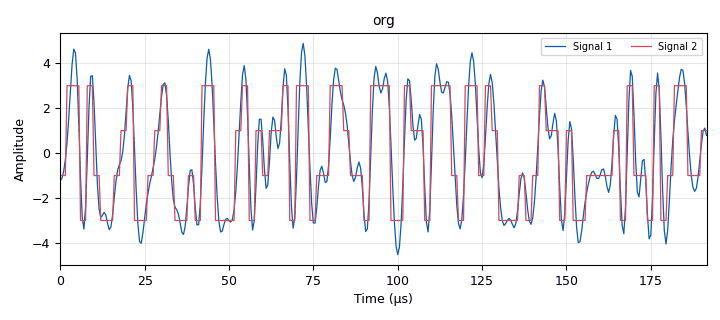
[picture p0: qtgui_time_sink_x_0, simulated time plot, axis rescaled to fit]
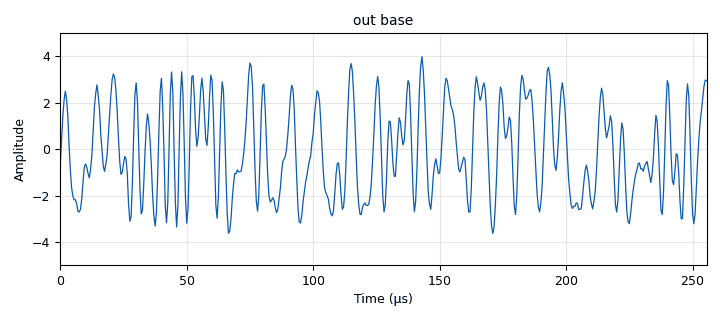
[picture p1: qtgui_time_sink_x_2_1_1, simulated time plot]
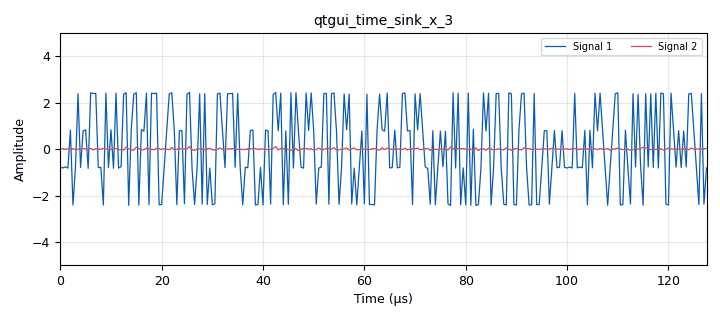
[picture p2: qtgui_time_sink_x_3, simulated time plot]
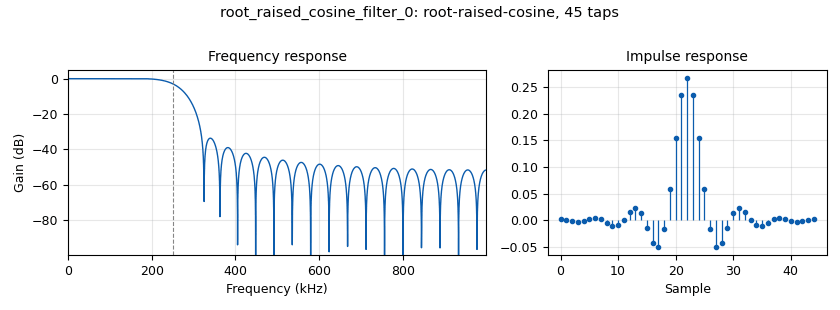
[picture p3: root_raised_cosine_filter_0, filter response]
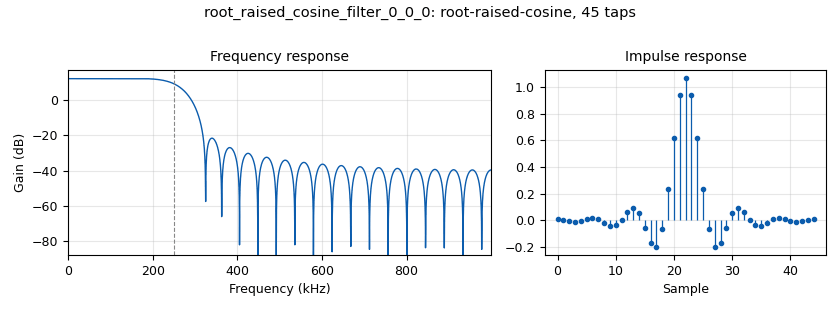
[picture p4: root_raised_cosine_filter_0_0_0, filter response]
options:
  parameters:
    generate_options: qt_gui
    id: rm_test
    output_language: python
    title: rm_test
  states: {}

blocks:
- name: D
  id: variable
  parameters:
    value: symb_rate/4
  states: {}
- name: bw
  id: variable_qtgui_range
  parameters:
    label: bw
    start: '0'
    step: '0.01'
    stop: '1'
    value: '0.01'
  states: {}
- name: gain
  id: variable_qtgui_range
  parameters:
    label: gain
    start: '0'
    step: '0.01'
    stop: '1'
    value: '0.6'
  states: {}
- name: noise_level
  id: variable_qtgui_range
  parameters:
    label: noise_level
    start: '0'
    step: '0.01'
    stop: '4'
    value: '0.1'
  states: {}
- name: pam4
  id: variable_constellation
  parameters:
    const_points: '[-3,-1,1,3]'
    dims: '1'
    normalization: digital.constellation.POWER_NORMALIZATION
    precision: '8'
    rot_sym: '1'
    sym_map: '[0, 1, 2,3]'
    type: calcdist
  states: {}
- name: samp_rate
  id: variable
  parameters:
    value: 2e6
  states: {}
- name: symb_rate
  id: variable
  parameters:
    value: 500e3
  states: {}
- name: analog_noise_source_x_0
  id: analog_noise_source_x
  parameters:
    amp: noise_level
    noise_type: analog.GR_GAUSSIAN
    seed: '0'
    type: complex
  states: {state: disabled}
- name: analog_noise_source_x_0_0
  id: analog_noise_source_x
  parameters:
    amp: noise_level
    noise_type: analog.GR_GAUSSIAN
    seed: '0'
    type: complex
  states: {}
- name: analog_quadrature_demod_cf_0
  id: analog_quadrature_demod_cf
  parameters:
    gain: samp_rate/(2*math.pi*D)
  states: {}
- name: analog_random_source_x_0
  id: analog_random_source_x
  parameters:
    max: '255'
    min: '0'
    num_samps: '1000'
    repeat: 'True'
    type: byte
  states: {}
- name: analog_sig_source_x_1_0
  id: analog_sig_source_x
  parameters:
    amp: '5'
    freq: '433000000'
    offset: '0'
    phase: '0'
    samp_rate: samp_rate
    type: complex
    waveform: analog.GR_SIN_WAVE
  states: {}
- name: analog_simple_squelch_cc_0
  id: analog_simple_squelch_cc
  parameters:
    alpha: '1'
    threshold: '-70'
  states: {}
- name: blocks_add_xx_0_0
  id: blocks_add_xx
  parameters:
    type: complex
  states: {state: disabled}
- name: blocks_add_xx_0_0_0
  id: blocks_add_xx
  parameters:
    type: complex
  states: {}
- name: blocks_char_to_float_0
  id: blocks_char_to_float
  parameters:
    scale: '1'
  states: {}
- name: blocks_delay_1
  id: blocks_delay
  parameters:
    delay: '5'
    type: float
  states: {}
- name: blocks_freqshift_cc_0_0
  id: blocks_freqshift_cc
  parameters:
    freq: '-433000000'
    sample_rate: samp_rate
  states: {}
- name: blocks_multiply_const_vxx_0
  id: blocks_multiply_const_vxx
  parameters:
    const: '0.01'
    type: float
  states: {state: disabled}
- name: blocks_multiply_const_vxx_1
  id: blocks_multiply_const_vxx
  parameters:
    const: '0.8'
    type: float
  states: {}
- name: blocks_multiply_xx_2
  id: blocks_multiply_xx
  parameters:
    type: complex
  states: {}
- name: blocks_repack_bits_bb_1
  id: blocks_repack_bits_bb
  parameters:
    endianness: gr.GR_MSB_FIRST
    k: '8'
    l: '2'
    len_tag_key: '"packet_len"'
  states: {}
- name: blocks_repack_bits_bb_1_0
  id: blocks_repack_bits_bb
  parameters:
    endianness: gr.GR_LSB_FIRST
    k: '2'
    l: '8'
    len_tag_key: '"packet_len"'
  states: {state: disabled}
- name: blocks_repeat_0
  id: blocks_repeat
  parameters:
    interp: '4'
    type: float
  states: {}
- name: blocks_stream_to_tagged_stream_0
  id: blocks_stream_to_tagged_stream
  parameters:
    len_tag_key: '"packet_len"'
    packet_len: '15'
    type: byte
  states: {}
- name: blocks_throttle2_0
  id: blocks_throttle2
  parameters:
    samples_per_second: samp_rate
    type: complex
  states: {}
- name: blocks_uchar_to_float_0
  id: blocks_uchar_to_float
  parameters: {}
  states: {state: disabled}
- name: blocks_uchar_to_float_0_0
  id: blocks_uchar_to_float
  parameters: {}
  states: {state: disabled}
- name: blocks_uchar_to_float_0_1
  id: blocks_uchar_to_float
  parameters: {}
  states: {state: disabled}
- name: blocks_vco_c_0
  id: blocks_vco_c
  parameters:
    amplitude: '1'
    samp_rate: samp_rate
    sensitivity: (2*math.pi)*D
  states: {}
- name: blocks_vector_source_x_0
  id: blocks_vector_source_x
  parameters:
    repeat: 'True'
    type: byte
    vector: (165, 0, 6, 0, 153, 10, 6, 65, 65, 65, 65, 65, 65, 189, 45)
  states: {state: disabled}
- name: digital_map_bb_0
  id: digital_map_bb
  parameters:
    map: '[-3,-1,1,3]'
  states: {}
- name: digital_symbol_sync_xx_0
  id: digital_symbol_sync_xx
  parameters:
    constellation: pam4
    damping: '1'
    loop_bw: bw
    max_dev: '1.5'
    nfilters: '128'
    osps: '1'
    resamp_type: digital.IR_PFB_NO_MF
    sps: '4'
    ted_gain: gain
    ted_type: digital.TED_MUELLER_AND_MULLER
    type: ff
  states: {}
- name: epy_block_0_0
  id: epy_block
  parameters:
    _source_code: |
      import numpy as np
      from gnuradio import gr

      class four_fsk_slicer(gr.sync_block):
          """
          4FSK Hard Slicer
          Input: Float symbols (approx -3, -1, 1, 3)
          Output: Bytes (0, 1, 2, 3 based on mapping)
          """
          def __init__(self):
              gr.sync_block.__init__(self,
                  name="4FSK Slicer",
                  in_sig=[np.float32],
                  out_sig=[np.uint8])

          def work(self, input_items, output_items):
              in0 = input_items[0]
              out = output_items[0]

              # 矢量化操作提高效率
              # 判决门限：-3.5, 0, 3.5

              # 使用 np.select 或者简单的比较

              cond_neg3 = in0 < -3.6
              cond_neg1 = (in0 >= -3.6) & (in0 < 0.0)
              cond_pos1 = (in0 >= 0.0) & (in0 < 3.6)
              cond_pos3 = in0 >= 3.6

              out[:] = (0 * cond_neg3 +
                        1 * cond_neg1 +
                        2 * cond_pos1 +
                        3 * cond_pos3).astype(np.uint8)

              return len(output_items[0])
  states: {state: disabled}
- name: epy_block_1
  id: epy_block
  parameters:
    _source_code: |
      import numpy as np
      from gnuradio import gr
      import pmt
      from scipy import signal
      import struct

      class fsk_burst_demod_rrc(gr.basic_block):
          def __init__(self, sps=4, alpha=0.25, ntaps=44, threshold=12.0, payload_bytes=14):
              gr.basic_block.__init__(self,
                  name="4-FSK RRC Correlation Demod",
                  in_sig=[np.float32],
                  out_sig=[np.uint8])

              self.sps = sps
              self.threshold = threshold
              self.payload_bytes = payload_bytes
              self.preamble_bytes = 1



              # 预计算核

              self.kernel = np.array(
                      [-0.3573050820141748, 0.5660324802079747, 1.2540338399449016, 1.6295843398401122, 1.6540407856806771, 1.3361034273782317, 0.751107591189669, 0.05043177497731362, -0.5937277177999305, -0.9785924463822805, -1.0780863103973495, -0.9735427298716328, -0.8530721779041428, -0.8496851308974418, -1.0996978799392936, -1.6034189664941476, -2.2065817403116985, -2.8258390531562303, -3.2484240942060123, -3.380621099394902, -3.2539607537620547, -3.010055647627655, -2.8195794555849996, -2.7830997744361694, -2.9247430368311886, -3.0553742929915426, -3.1276277405435704, -3.1159436582249245, -3.0502972667543005, -2.965491326761916, -2.8480935627121218, -2.623313845849911, -2.1740644196075953, -1.4963902421714717, -0.6214243499251842, 0.2802205824933558, 0.959380227235302, 1.1783752469166406, 0.8126400837735933, -0.08596178463524357, -1.2822550094286638, -2.522246206339441, -3.490881105705776, -3.978374440835261], dtype=np.float32)

              self.buffer = np.array([], dtype=np.float32)
              self.state = "SEARCH"
              self.samples_per_packet = (self.preamble_bytes + self.payload_bytes) * 4 * sps

          def general_work(self, input_items, output_items):
              in0 = input_items
              out = output_items
              self.buffer = np.append(self.buffer, in0)

              produced = 0
              while True:
                  if self.state == "SEARCH":
                      # 需要足够的长度进行互相关
                      if len(self.buffer) < len(self.kernel) + self.samples_per_packet:
                          break

                      # 滑动相关 (仅搜索缓冲区起始的一段)
                      search_len = min(len(self.buffer), 512)
                      corr = signal.correlate(self.buffer[:search_len], self.kernel, mode='valid')

                      peak_idx = np.argmax(corr)
                      if corr[peak_idx] > self.threshold:
                          #print("valid")
                          # 匹配成功。对于 'valid' 模式，峰值索引 peak_idx
                          # 对应的正是 kernel 完全对齐 buffer[peak_idx : peak_idx+len(kernel)] 的位置
                          # 最佳采样点通常在 preamble 结束后的第一个 payload 符号处
                          self.sample_ptr = peak_idx + len(self.kernel)
                          self.state = "EXTRACT"
                      else:
                          # 未找到，修剪缓冲区防止内存溢出
                          self.buffer = self.buffer[search_len - len(self.kernel):]
                          break

                  elif self.state == "EXTRACT":
                      # 检查剩余样本是否足够覆盖 payload
                      payload_samples_needed = self.payload_bytes * 4 * self.sps
                      if len(self.buffer) < self.sample_ptr + payload_samples_needed:
                          break

                      # 开始每隔 SPS 个样本抽取一个点（抽取在同步后执行）
                      payload_stream = self.buffer[self.sample_ptr : self.sample_ptr + payload_samples_needed]
                      decision_points = payload_stream[::self.sps]

                      # 解码符号并组包
                      packet_bytes = []
                      for i in range(0, len(decision_points), 4):
                          byte_val = 0
                          for j in range(4):
                              v = decision_points[i+j]
                              # 4FSK 判决门限 (假设已经归一化到 -3, -1, 1, 3)
                              if v > 2.0: bits = 0b11 # +3
                              elif v > 0: bits = 0b10 # +1
                              elif v > -2.0: bits = 0b01 # -1
                              else: bits = 0b00 # -3
                              byte_val = (byte_val << 2) | bits
                              #byte_val = int("{:08b}".format(byte_val)[::-1],2)
                          packet_bytes.append(byte_val)

                      # 截断到请求的长度并添加 Tag
                      final_payload = packet_bytes[:self.payload_bytes]

                      # 打标：在当前输出流的起始位置添加 packet_len 标签
                      tag_index = self.nitems_written(0) + produced
                      self.add_item_tag(0, tag_index, pmt.intern("packet_len"), pmt.from_long(self.payload_bytes))

                      # 输出
                      out[produced : produced + len(final_payload)] = final_payload
                      produced += len(final_payload)

                      # 重置状态并清理 buffer
                      self.buffer = self.buffer[self.sample_ptr + payload_samples_needed:]
                      self.state = "SEARCH"

              self.consume(0, len(in0))
              return produced
    alpha: '0.25'
    ntaps: '44'
    payload_bytes: '11'
    sps: '4'
    threshold: '100'
  states: {state: disabled}
- name: epy_block_1_0
  id: epy_block
  parameters:
    _source_code: |
      import numpy as np
      from gnuradio import gr
      from scipy import signal

      class fsk_corr_scorer(gr.sync_block):
          def __init__(self):
              gr.sync_block.__init__(self,
                  name="FSK Correlation Scorer",
                  in_sig=[np.float32],
                  out_sig=[np.float32])

              # 预计算核 (保持原有数值)
              self.kernel = np.array(
                      [-0.3573050820141748, 0.5660324802079747, 1.2540338399449016, 1.6295843398401122, 1.6540407856806771, 1.3361034273782317, 0.751107591189669, 0.05043177497731362, -0.5937277177999305, -0.9785924463822805, -1.0780863103973495, -0.9735427298716328, -0.8530721779041428, -0.8496851308974418, -1.0996978799392936, -1.6034189664941476, -2.2065817403116985, -2.8258390531562303, -3.2484240942060123, -3.380621099394902, -3.2539607537620547, -3.010055647627655, -2.8195794555849996, -2.7830997744361694, -2.9247430368311886, -3.0553742929915426, -3.1276277405435704, -3.1159436582249245, -3.0502972667543005, -2.965491326761916, -2.8480935627121218, -2.623313845849911, -2.1740644196075953, -1.4963902421714717, -0.6214243499251842, 0.2802205824933558, 0.959380227235302, 1.1783752469166406, 0.8126400837735933, -0.08596178463524357, -1.2822550094286638, -2.522246206339441, -3.490881105705776, -3.978374440835261], dtype=np.float32)

              # 设置 history 长度，确保每次 work 都能访问到足够的旧样本进行互相关
              self.set_history(len(self.kernel))

          def work(self, input_items, output_items):
              in0 = input_items[0]
              out = output_items[0]

              # 在 sync_block 中，如果设置了 history 为 K，
              # 则 len(in0) = noutput_items + K - 1
              # 我们对整段 buffer 进行 valid 模式的相关运算，得到长度为 noutput_items 的结果
              # 使用 numpy.correlate 或 scipy.signal.correlate 均可
              # 注意：为了性能，这里使用 numpy 的 correlate

              corr_result = signal.correlate(in0, self.kernel, mode='valid')

              # 填充到输出
              n_out = len(corr_result)
              out[:n_out] = corr_result

              return n_out
  states: {state: disabled}
- name: epy_block_1_0_0
  id: epy_block
  parameters:
    _source_code: |
      import numpy as np
      from gnuradio import gr
      import pmt
      from scipy import signal

      class fsk_burst_tagger(gr.sync_block):
          def __init__(self, threshold=12.0):
              gr.sync_block.__init__(self,
                  name="FSK Burst Tagger",
                  in_sig=[np.float32],
                  out_sig=[np.float32]) # 修改为浮点输出，保持信号流不变

              self.threshold = threshold
              # 预计算核 (保持原有数值)
              self.kernel = np.array(
                      [-0.3573050820141748, 0.5660324802079747, 1.2540338399449016, 1.6295843398401122, 1.6540407856806771, 1.3361034273782317, 0.751107591189669, 0.05043177497731362, -0.5937277177999305, -0.9785924463822805, -1.0780863103973495, -0.9735427298716328, -0.8530721779041428, -0.8496851308974418, -1.0996978799392936, -1.6034189664941476, -2.2065817403116985, -2.8258390531562303, -3.2484240942060123, -3.380621099394902, -3.2539607537620547, -3.010055647627655, -2.8195794555849996, -2.7830997744361694, -2.9247430368311886, -3.0553742929915426, -3.1276277405435704, -3.1159436582249245, -3.0502972667543005, -2.965491326761916, -2.8480935627121218, -2.623313845849911, -2.1740644196075953, -1.4963902421714717, -0.6214243499251842, 0.2802205824933558, 0.959380227235302, 1.1783752469166406, 0.8126400837735933, -0.08596178463524357, -1.2822550094286638, -2.522246206339441, -3.490881105705776, -3.978374440835261], dtype=np.float32)

              self.buffer = np.array([], dtype=np.float32)
              self.skip_count = 0 # 用于防止在同一个峰值附近重复打标

          def work(self, input_items, output_items):
              in0 = input_items[0]
              out = output_items[0]

              # 将新数据存入缓冲区
              self.buffer = np.append(self.buffer, in0)

              # 如果缓冲区太短，无法进行相关运算，则直接消耗并返回
              if len(self.buffer) < len(self.kernel):
                  self.consume(0, len(in0))
                  return 0

              # 执行互相关
              # 我们只对新加入的数据及其前缀进行相关运算
              corr = signal.correlate(self.buffer, self.kernel, mode='valid')

              # 寻找超过阈值的峰值
              for i in range(len(corr)):
                  if corr[i] > self.threshold and self.skip_count == 0:
                      # 计算标签在全局流中的位置
                      # nitems_written(0) 是已输出的样本数
                      # i 是在当前 buffer 中的偏移
                      tag_index = self.nitems_written(0) + i

                      # 添加 Tag
                      self.add_item_tag(0, tag_index, pmt.intern("burst_detected"), pmt.PMT_T)

                      # 设置跳过计数，防止对同一个 preamble 的多个采样点重复触发 (通常设为核长度)
                      self.skip_count = len(self.kernel)

                  if self.skip_count > 0:
                      self.skip_count -= 1

              # 将输入直接透传到输出
              n_output = min(len(in0), len(out))
              out[:n_output] = in0[:n_output]

              # 这里的 buffer 管理：保留最后 kernel_len 个样本，以便下次搜索能跨越边界
              self.buffer = self.buffer[n_output:]

              self.consume(0, n_output)
              return n_output
    threshold: '199'
  states: {state: disabled}
- name: iio_pluto_sink_0
  id: iio_pluto_sink
  parameters:
    attenuation1: '0'
    bandwidth: '2000000'
    buffer_size: '32768'
    cyclic: 'False'
    filter_source: '''Auto'''
    frequency: '433000000'
    samplerate: '2000000'
    type: fc32
    uri: '"192.168.2.1"'
  states: {state: disabled}
- name: iio_pluto_source_0
  id: iio_pluto_source
  parameters:
    bandwidth: '2000000'
    bbdc: 'True'
    buffer_size: '32768'
    filter_source: '''Auto'''
    frequency: '433000000'
    gain1: '''manual'''
    manual_gain1: '20'
    quadrature: 'True'
    rfdc: 'True'
    samplerate: '2000000'
    type: fc32
    uri: '"192.168.2.1"'
  states: {state: disabled}
- name: qtgui_freq_sink_x_0
  id: qtgui_freq_sink_x
  parameters:
    bw: samp_rate
    fc: '0'
    fftsize: '1024'
    type: complex
  states: {state: disabled}
- name: qtgui_number_sink_0
  id: qtgui_number_sink
  parameters:
    graph_type: qtgui.NUM_GRAPH_HORIZ
    name: '"BER"'
    type: float
  states: {state: disabled}
- name: qtgui_time_sink_x_0
  id: qtgui_time_sink_x
  parameters:
    name: '"org"'
    nconnections: '2'
    size: '384'
    srate: samp_rate
    type: float
    update_time: '10'
    ymax: '4'
    ymin: '-4'
  states: {}
- name: qtgui_time_sink_x_1
  id: qtgui_time_sink_x
  parameters:
    size: '128'
    srate: samp_rate
    type: complex
    update_time: '0.5'
  states: {state: disabled}
- name: qtgui_time_sink_x_2
  id: qtgui_time_sink_x
  parameters:
    grid: 'True'
    size: '128'
    srate: samp_rate
    tr_mode: qtgui.TRIG_MODE_NORM
    type: float
    update_time: '5'
    ymax: '255'
    ymin: '-0'
  states: {state: disabled}
- name: qtgui_time_sink_x_2_0
  id: qtgui_time_sink_x
  parameters:
    grid: 'True'
    nconnections: '2'
    size: '512'
    srate: samp_rate
    tr_mode: qtgui.TRIG_MODE_NORM
    type: float
    update_time: '5'
    ymax: '5'
    ymin: '-5'
  states: {state: disabled}
- name: qtgui_time_sink_x_2_1
  id: qtgui_time_sink_x
  parameters:
    grid: 'True'
    name: '"out symb"'
    size: '512'
    srate: samp_rate
    tr_mode: qtgui.TRIG_MODE_NORM
    type: float
    update_time: '5'
    ymax: '4'
    ymin: '-0'
  states: {state: disabled}
- name: qtgui_time_sink_x_2_1_1
  id: qtgui_time_sink_x
  parameters:
    grid: 'True'
    name: '"out base"'
    size: '512'
    srate: samp_rate
    tr_mode: qtgui.TRIG_MODE_NORM
    type: float
    update_time: '5'
    ymax: '5'
    ymin: '-5'
  states: {}
- name: qtgui_time_sink_x_3
  id: qtgui_time_sink_x
  parameters:
    nconnections: '2'
    size: '256'
    srate: samp_rate
    type: float
    ymax: '5'
    ymin: '-5'
  states: {}
- name: root_raised_cosine_filter_0
  id: root_raised_cosine_filter
  parameters:
    alpha: '0.25'
    decim: '1'
    gain: '1'
    ntaps: 11*4
    samp_rate: samp_rate
    sym_rate: 500e3
    type: fir_filter_fff
  states: {}
- name: root_raised_cosine_filter_0_0
  id: root_raised_cosine_filter
  parameters:
    alpha: '0.25'
    decim: '1'
    gain: '1'
    ntaps: 11*4
    samp_rate: samp_rate
    sym_rate: 500e3
    type: fir_filter_fff
  states: {state: disabled}
- name: root_raised_cosine_filter_0_0_0
  id: root_raised_cosine_filter
  parameters:
    alpha: '0.250'
    gain: '4'
    interp: '4'
    ntaps: 11*4
    samp_rate: samp_rate
    sym_rate: 500e3
    type: interp_fir_filter_fff
  states: {}
- name: virtual_sink_0
  id: virtual_sink
  parameters:
    stream_id: rf
  states: {}
- name: virtual_source_0
  id: virtual_source
  parameters:
    stream_id: rf
  states: {}

connections:
- [analog_noise_source_x_0, '0', blocks_add_xx_0_0, '0']
- [analog_noise_source_x_0_0, '0', blocks_add_xx_0_0_0, '0']
- [analog_quadrature_demod_cf_0, '0', blocks_multiply_const_vxx_1, '0']
- [analog_quadrature_demod_cf_0, '0', root_raised_cosine_filter_0_0, '0']
- [analog_random_source_x_0, '0', blocks_stream_to_tagged_stream_0, '0']
- [analog_sig_source_x_1_0, '0', blocks_multiply_xx_2, '1']
- [analog_simple_squelch_cc_0, '0', analog_quadrature_demod_cf_0, '0']
- [blocks_add_xx_0_0, '0', iio_pluto_sink_0, '0']
- [blocks_add_xx_0_0_0, '0', virtual_sink_0, '0']
- [blocks_char_to_float_0, '0', blocks_delay_1, '0']
- [blocks_char_to_float_0, '0', root_raised_cosine_filter_0_0_0, '0']
- [blocks_delay_1, '0', blocks_repeat_0, '0']
- [blocks_freqshift_cc_0_0, '0', analog_simple_squelch_cc_0, '0']
- [blocks_multiply_const_vxx_0, '0', qtgui_time_sink_x_2_0, '1']
- [blocks_multiply_const_vxx_1, '0', qtgui_time_sink_x_2_1_1, '0']
- [blocks_multiply_const_vxx_1, '0', root_raised_cosine_filter_0, '0']
- [blocks_multiply_xx_2, '0', blocks_add_xx_0_0_0, '1']
- [blocks_repack_bits_bb_1, '0', digital_map_bb_0, '0']
- [blocks_repack_bits_bb_1_0, '0', blocks_uchar_to_float_0, '0']
- [blocks_repeat_0, '0', qtgui_time_sink_x_0, '1']
- [blocks_stream_to_tagged_stream_0, '0', blocks_repack_bits_bb_1, '0']
- [blocks_throttle2_0, '0', blocks_multiply_xx_2, '0']
- [blocks_uchar_to_float_0, '0', qtgui_time_sink_x_2, '0']
- [blocks_uchar_to_float_0_0, '0', qtgui_time_sink_x_2_0, '0']
- [blocks_uchar_to_float_0_1, '0', qtgui_time_sink_x_2_1, '0']
- [blocks_vco_c_0, '0', blocks_add_xx_0_0, '1']
- [blocks_vco_c_0, '0', blocks_throttle2_0, '0']
- [blocks_vco_c_0, '0', iio_pluto_sink_0, '0']
- [blocks_vco_c_0, '0', qtgui_time_sink_x_1, '0']
- [blocks_vector_source_x_0, '0', blocks_stream_to_tagged_stream_0, '0']
- [digital_map_bb_0, '0', blocks_char_to_float_0, '0']
- [digital_symbol_sync_xx_0, '0', qtgui_time_sink_x_3, '0']
- [digital_symbol_sync_xx_0, '1', qtgui_time_sink_x_3, '1']
- [epy_block_0_0, '0', blocks_repack_bits_bb_1_0, '0']
- [epy_block_0_0, '0', blocks_uchar_to_float_0_1, '0']
- [epy_block_1, '0', blocks_uchar_to_float_0_0, '0']
- [epy_block_1_0, '0', blocks_multiply_const_vxx_0, '0']
- [epy_block_1_0_0, '0', qtgui_time_sink_x_2_0, '0']
- [iio_pluto_source_0, '0', analog_simple_squelch_cc_0, '0']
- [iio_pluto_source_0, '0', qtgui_freq_sink_x_0, '0']
- [root_raised_cosine_filter_0, '0', digital_symbol_sync_xx_0, '0']
- [root_raised_cosine_filter_0, '0', epy_block_0_0, '0']
- [root_raised_cosine_filter_0_0, '0', epy_block_1, '0']
- [root_raised_cosine_filter_0_0, '0', epy_block_1_0, '0']
- [root_raised_cosine_filter_0_0, '0', epy_block_1_0_0, '0']
- [root_raised_cosine_filter_0_0_0, '0', blocks_vco_c_0, '0']
- [root_raised_cosine_filter_0_0_0, '0', qtgui_time_sink_x_0, '0']
- [virtual_source_0, '0', blocks_freqshift_cc_0_0, '0']

metadata:
  file_format: 1
  grc_version: 3.10.12.0
